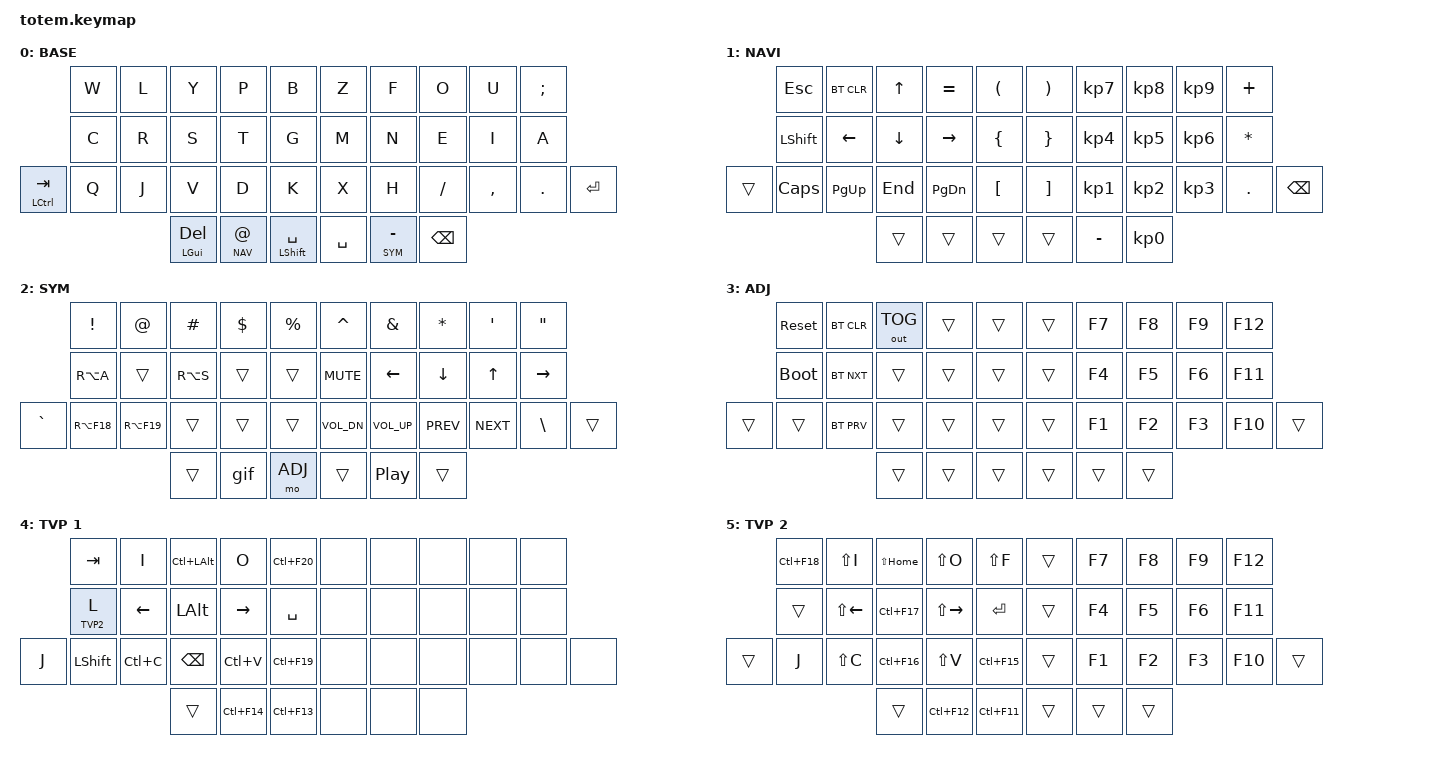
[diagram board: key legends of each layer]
//
//                                                        ▀▀▀▀▀     ▀▀▀▀▀          ▀▀█▀▀
//                                                        ▄▀▀▀▄  ▄  ▄▀▀▀▄  ▄  ▄▀▀▀▄  █  ▄▀▀▀▄
//                                                        █   █  █  █   █  █  █   █  █  █   █
//                                                         ▀▀▀   █   ▀▀▀   █   ▀▀▀   ▀   ▀▀▀
//                                                               █      ▄▄▄█▄▄▄    █   █  
//                                                               ▀      █  █  █     █▄█
//                                                             ▀▀▀▀▀    █  █  █      ▀
//                                                                      ▀  ▀  ▀
//
// ▄▄▄▄▄▄▄▄▄▄▄▄▄▄▄▄▄▄▄▄▄▄▄▄▄▄▄▄▄▄▄▄▄▄▄▄▄▄▄▄▄▄▄▄▄▄▄▄▄▄▄▄▄▄▄▄▄▄▄▄▄▄▄▄▄▄▄▄▄▄▄▄▄▄▄▄▄▄▄▄▄▄▄▄▄▄▄▄▄▄▄▄▄▄▄▄▄▄▄▄▄▄▄▄▄▄▄▄▄▄▄▄▄▄▄▄▄▄▄▄▄▄▄▄▄▄▄▄▄▄▄▄▄▄▄▄▄▄▄▄▄▄▄▄▄▄▄▄▄

#include <behaviors.dtsi>
#include <dt-bindings/zmk/bt.h>
#include <dt-bindings/zmk/keys.h>
#include <dt-bindings/zmk/outputs.h>

#define BASE 0
#define NAV  1
#define SYM  2
#define ADJ  3
#define TVP1 4
#define TVP2 5

&mt {
    quick-tap-ms = <100>;
    global-quick-tap;
    flavor = "tap-preferred";
    tapping-term-ms = <170>;
};

/ {
    combos {
        compatible = "zmk,combos";

        combo_esc {
            timeout-ms = <50>;
            key-positions = <0 1>;
            bindings = <&kp ESC>;
        };

        combo_tvp {
            timeout-ms = <100>;
            key-positions = <11 12 13>;
            bindings = <&tog TVP1>;
        };
    };

    macros {
        gif: gif {
            label = "giphy";
            compatible = "zmk,behavior-macro";
            #binding-cells = <0>;
            bindings =
                <&macro_press>,
                <&kp LSHFT>,
                <&macro_tap>,
                <&kp N2>,
                <&macro_release>,
                <&kp LSHFT>,
                <&macro_tap>,
                <&kp G &kp I &kp F>;
        };
    };

    keymap {
        compatible = "zmk,keymap";

        // ▄▄▄▄▄▄▄▄▄▄▄▄▄▄▄▄▄▄▄▄▄▄▄▄▄▄▄▄▄▄▄▄▄▄▄▄▄▄▄▄▄▄▄▄▄▄▄▄▄▄▄▄▄▄▄▄▄▄▄▄▄▄▄▄▄▄▄▄▄▄▄▄▄▄▄▄▄▄▄▄▄▄▄▄▄▄▄▄▄▄▄▄▄▄▄▄▄▄▄▄▄▄▄▄▄▄▄▄▄▄▄▄▄▄▄▄▄▄▄▄▄▄▄▄▄▄▄▄▄▄▄▄▄▄▄▄▄▄▄▄▄▄▄▄▄▄▄▄▄

        base_layer {
            // ┏━━━━━━━━━━━━━━━━━━━━━━━━━━━━━━━━━━━━━━━┓

            label = "BASE";

            // ┗━━━━━━━━━━━━━━━━━━━━━━━━━━━━━━━━━━━━━━━┛
            //             ┏━━━━━━━━━━━┳━━━━━━━━━━━┳━━━━━━━━━━━┳━━━━━━━━━━━┳━━━━━━━━━━━┓   ┏━━━━━━━━━━━┳━━━━━━━━━━━┳━━━━━━━━━━━┳━━━━━━━━━━━┳━━━━━━━━━━━┓
            //             ┃     Q     ┃     W     ┃     F     ┃     P     ┃     G     ┃   ┃     J     ┃     L     ┃     U     ┃     Y     ┃     ;     ┃
            //             ┣━━━━━━━━━━━╋━━━━━━━━━━━╋━━━━━━━━━━━╋━━━━━━━━━━━╋━━━━━━━━━━━┫   ┣━━━━━━━━━━━╋━━━━━━━━━━━╋━━━━━━━━━━━╋━━━━━━━━━━━╋━━━━━━━━━━━┫
            //             ┃     A     ┃     R     ┃     S     ┃     T     ┃     D     ┃   ┃     H     ┃     N     ┃     E     ┃     I     ┃     O     ┃
            // ┏━━━━━━━━━━━╋━━━━━━━━━━━╋━━━━━━━━━━━╋━━━━━━━━━━━╋━━━━━━━━━━━╋━━━━━━━━━━━┫   ┣━━━━━━━━━━━╋━━━━━━━━━━━╋━━━━━━━━━━━╋━━━━━━━━━━━╋━━━━━━━━━━━╋━━━━━━━━━━━┓
            // ┃     Q     ┃     Z     ┃     X     ┃     C     ┃     V     ┃     B     ┃   ┃     K     ┃     M     ┃     ,     ┃     .     ┃     /     ┃     \     ┃
            // ┗━━━━━━━━━━━┻━━━━━━━━━━━┻━━━━━━━━━━━╋━━━━━━━━━━━╋━━━━━━━━━━━╋━━━━━━━━━━━┫   ┣━━━━━━━━━━━╋━━━━━━━━━━━╋━━━━━━━━━━━╋━━━━━━━━━━━┻━━━━━━━━━━━┻━━━━━━━━━━━┛
            //                                     ┃    DEL    ┃    TAB    ┃    SPC    ┃   ┃   ENTER   ┃           ┃   BSPC    ┃
            //                                     ┗━━━━━━━━━━━┻━━━━━━━━━━━┻━━━━━━━━━━━┛   ┗━━━━━━━━━━━┻━━━━━━━━━━━┻━━━━━━━━━━━┛

            bindings = <
                      &kp W  &kp L  &kp Y                &kp P            &kp B                   &kp Z      &kp F          &kp O      &kp U      &kp SEMI
                      &kp C  &kp R  &kp S                &kp T            &kp G                   &kp M      &kp N          &kp E      &kp I      &kp A
&mt LEFT_CONTROL TAB  &kp Q  &kp J  &kp V                &kp D            &kp K                   &kp X      &kp H          &kp SLASH  &kp COMMA  &kp PERIOD  &kp RET
                                    &mt LEFT_GUI DELETE  &lt NAV AT_SIGN  &mt LEFT_SHIFT SPACE    &kp SPACE  &lt SYM MINUS  &kp BSPC
            >;
        };

        // ▄▄▄▄▄▄▄▄▄▄▄▄▄▄▄▄▄▄▄▄▄▄▄▄▄▄▄▄▄▄▄▄▄▄▄▄▄▄▄▄▄▄▄▄▄▄▄▄▄▄▄▄▄▄▄▄▄▄▄▄▄▄▄▄▄▄▄▄▄▄▄▄▄▄▄▄▄▄▄▄▄▄▄▄▄▄▄▄▄▄▄▄▄▄▄▄▄▄▄▄▄▄▄▄▄▄▄▄▄▄▄▄▄▄▄▄▄▄▄▄▄▄▄▄▄▄▄▄▄▄▄▄▄▄▄▄▄▄▄▄▄▄▄▄▄▄▄▄▄

        nav_layer {
            // ┏━━━━━━━━━━━━━━━━━━━━━━━━━━━━━━━━━━━━━━━┓

            label = "NAVI";

            // ┗━━━━━━━━━━━━━━━━━━━━━━━━━━━━━━━━━━━━━━━┛
            //             ┏━━━━━━━━━━━┳━━━━━━━━━━━┳━━━━━━━━━━━┳━━━━━━━━━━━┳━━━━━━━━━━━┓   ┏━━━━━━━━━━━┳━━━━━━━━━━━┳━━━━━━━━━━━┳━━━━━━━━━━━┳━━━━━━━━━━━┓
            //             ┃           ┃           ┃     UP    ┃           ┃     {     ┃   ┃     }     ┃     7     ┃     8     ┃     9     ┃     +     ┃
            //             ┣━━━━━━━━━━━╋━━━━━━━━━━━╋━━━━━━━━━━━╋━━━━━━━━━━━╋━━━━━━━━━━━┫   ┣━━━━━━━━━━━╋━━━━━━━━━━━╋━━━━━━━━━━━╋━━━━━━━━━━━╋━━━━━━━━━━━┫
            //             ┃   SHIFT   ┃   LEFT    ┃    DOWN   ┃   RIGHT   ┃     [     ┃   ┃     ]     ┃     4     ┃     5     ┃     6     ┃     -     ┃
            // ┏━━━━━━━━━━━╋━━━━━━━━━━━╋━━━━━━━━━━━╋━━━━━━━━━━━╋━━━━━━━━━━━╋━━━━━━━━━━━┫   ┣━━━━━━━━━━━╋━━━━━━━━━━━╋━━━━━━━━━━━╋━━━━━━━━━━━╋━━━━━━━━━━━╋━━━━━━━━━━━┓
            // ┃           ┃           ┃   P UP    ┃  C LOCK   ┃  P DOWN   ┃     (     ┃   ┃     )     ┃     1     ┃     2     ┃     3     ┃     *     ┃           ┃
            // ┗━━━━━━━━━━━┻━━━━━━━━━━━┻━━━━━━━━━━━╋━━━━━━━━━━━╋━━━━━━━━━━━╋━━━━━━━━━━━┫   ┣━━━━━━━━━━━╋━━━━━━━━━━━╋━━━━━━━━━━━╋━━━━━━━━━━━┻━━━━━━━━━━━┻━━━━━━━━━━━┛
            //                                     ┃           ┃    TAB    ┃    SPC    ┃   ┃    DEL    ┃     0     ┃           ┃
            //                                     ┗━━━━━━━━━━━┻━━━━━━━━━━━┻━━━━━━━━━━━┛   ┗━━━━━━━━━━━┻━━━━━━━━━━━┻━━━━━━━━━━━┛

            bindings = <
        &kp ESC       &bt BT_CLR  &kp UP    &kp EQUAL  &kp LEFT_PARENTHESIS    &kp RIGHT_PARENTHESIS  &kp KP_N7  &kp KP_N8  &kp KP_N9  &kp PLUS
        &kp LSHFT     &kp LEFT    &kp DOWN  &kp RIGHT  &kp LEFT_BRACE          &kp RIGHT_BRACE        &kp KP_N4  &kp KP_N5  &kp KP_N6  &kp ASTRK
&trans  &kp CAPSLOCK  &kp PG_UP   &kp END   &kp PG_DN  &kp LEFT_BRACKET        &kp RIGHT_BRACKET      &kp KP_N1  &kp KP_N2  &kp KP_N3  &kp PERIOD  &kp BACKSPACE
                                  &trans    &trans     &trans                  &trans                 &kp MINUS  &kp KP_N0
            >;
        };

        // ▄▄▄▄▄▄▄▄▄▄▄▄▄▄▄▄▄▄▄▄▄▄▄▄▄▄▄▄▄▄▄▄▄▄▄▄▄▄▄▄▄▄▄▄▄▄▄▄▄▄▄▄▄▄▄▄▄▄▄▄▄▄▄▄▄▄▄▄▄▄▄▄▄▄▄▄▄▄▄▄▄▄▄▄▄▄▄▄▄▄▄▄▄▄▄▄▄▄▄▄▄▄▄▄▄▄▄▄▄▄▄▄▄▄▄▄▄▄▄▄▄▄▄▄▄▄▄▄▄▄▄▄▄▄▄▄▄▄▄▄▄▄▄▄▄▄▄▄▄

        sim_layer {
            // ┏━━━━━━━━━━━━━━━━━━━━━━━━━━━━━━━━━━━━━━━┓

            label = "SYM";

            // ┗━━━━━━━━━━━━━━━━━━━━━━━━━━━━━━━━━━━━━━━┛
            //             ┏━━━━━━━━━━━┳━━━━━━━━━━━┳━━━━━━━━━━━┳━━━━━━━━━━━┳━━━━━━━━━━━┓   ┏━━━━━━━━━━━┳━━━━━━━━━━━┳━━━━━━━━━━━┳━━━━━━━━━━━┳━━━━━━━━━━━┓
            //             ┃     !     ┃     @     ┃     #     ┃     $     ┃     %     ┃   ┃     ˆ     ┃     &     ┃     Ü     ┃     '     ┃     "     ┃
            //             ┣━━━━━━━━━━━╋━━━━━━━━━━━╋━━━━━━━━━━━╋━━━━━━━━━━━╋━━━━━━━━━━━┫   ┣━━━━━━━━━━━╋━━━━━━━━━━━╋━━━━━━━━━━━╋━━━━━━━━━━━╋━━━━━━━━━━━┫
            //             ┃     Ä     ┃           ┃    SZ     ┃           ┃           ┃   ┃   MUTE    ┃   YEN     ┃   EURO    ┃  POUND    ┃     Ö     ┃
            // ┏━━━━━━━━━━━╋━━━━━━━━━━━╋━━━━━━━━━━━╋━━━━━━━━━━━╋━━━━━━━━━━━╋━━━━━━━━━━━┫   ┣━━━━━━━━━━━╋━━━━━━━━━━━╋━━━━━━━━━━━╋━━━━━━━━━━━╋━━━━━━━━━━━╋━━━━━━━━━━━┓
            // ┃           ┃  EMAIL1   ┃  EMAIL2   ┃           ┃           ┃           ┃   ┃   VOL-    ┃   VOL+    ┃   LAST    ┃   NEXT    ┃     \     ┃           ┃
            // ┗━━━━━━━━━━━┻━━━━━━━━━━━┻━━━━━━━━━━━╋━━━━━━━━━━━╋━━━━━━━━━━━╋━━━━━━━━━━━┫   ┣━━━━━━━━━━━╋━━━━━━━━━━━╋━━━━━━━━━━━╋━━━━━━━━━━━┻━━━━━━━━━━━┻━━━━━━━━━━━┛
            //                                     ┃           ┃    GIF    ┃    ADJ    ┃   ┃           ┃           ┃           ┃
            //                                     ┗━━━━━━━━━━━┻━━━━━━━━━━━┻━━━━━━━━━━━┛   ┗━━━━━━━━━━━┻━━━━━━━━━━━┻━━━━━━━━━━━┛

            bindings = <
           &kp EXCL     &kp AT       &kp HASH   &kp DLLR  &kp PRCNT    &kp CARET     &kp AMPS      &kp ASTERISK    &kp SQT       &kp DQT
           &kp RA(A)    &trans       &kp RA(S)  &trans    &trans       &kp C_MUTE    &kp LEFT      &kp DOWN_ARROW  &kp UP_ARROW  &kp RIGHT_ARROW
&kp GRAVE  &kp RA(F18)  &kp RA(F19)  &trans     &trans    &trans       &kp C_VOL_DN  &kp C_VOL_UP  &kp C_PREV      &kp C_NEXT    &kp BSLH         &trans
                                     &trans     &gif      &mo ADJ      &trans        &kp C_PP      &trans
            >;
        };

        // ▄▄▄▄▄▄▄▄▄▄▄▄▄▄▄▄▄▄▄▄▄▄▄▄▄▄▄▄▄▄▄▄▄▄▄▄▄▄▄▄▄▄▄▄▄▄▄▄▄▄▄▄▄▄▄▄▄▄▄▄▄▄▄▄▄▄▄▄▄▄▄▄▄▄▄▄▄▄▄▄▄▄▄▄▄▄▄▄▄▄▄▄▄▄▄▄▄▄▄▄▄▄▄▄▄▄▄▄▄▄▄▄▄▄▄▄▄▄▄▄▄▄▄▄▄▄▄▄▄▄▄▄▄▄▄▄▄▄▄▄▄▄▄▄▄▄▄▄▄

        adjust_layer {
            // ┏━━━━━━━━━━━━━━━━━━━━━━━━━━━━━━━━━━━━━━━┓

            label = "ADJ";

            // ┗━━━━━━━━━━━━━━━━━━━━━━━━━━━━━━━━━━━━━━━┛
            //             ┏━━━━━━━━━━━┳━━━━━━━━━━━┳━━━━━━━━━━━┳━━━━━━━━━━━┳━━━━━━━━━━━┓   ┏━━━━━━━━━━━┳━━━━━━━━━━━┳━━━━━━━━━━━┳━━━━━━━━━━━┳━━━━━━━━━━━┓
            //             ┃   RESET   ┃ BT CLEAR  ┃  OUT TOG  ┃           ┃           ┃   ┃           ┃    F7     ┃    F8     ┃    F9     ┃    F12    ┃
            //             ┣━━━━━━━━━━━╋━━━━━━━━━━━╋━━━━━━━━━━━╋━━━━━━━━━━━╋━━━━━━━━━━━┫   ┣━━━━━━━━━━━╋━━━━━━━━━━━╋━━━━━━━━━━━╋━━━━━━━━━━━╋━━━━━━━━━━━┫
            //             ┃ BOOTLOAD  ┃ BT NEXT   ┃           ┃           ┃           ┃   ┃           ┃    F4     ┃    F5     ┃    F6     ┃    F11    ┃
            // ┏━━━━━━━━━━━╋━━━━━━━━━━━╋━━━━━━━━━━━╋━━━━━━━━━━━╋━━━━━━━━━━━╋━━━━━━━━━━━┫   ┣━━━━━━━━━━━╋━━━━━━━━━━━╋━━━━━━━━━━━╋━━━━━━━━━━━╋━━━━━━━━━━━╋━━━━━━━━━━━┓
            // ┃           ┃           ┃ BT PREV   ┃           ┃           ┃           ┃   ┃           ┃    F1     ┃    F2     ┃    F3     ┃    F10    ┃           ┃
            // ┗━━━━━━━━━━━┻━━━━━━━━━━━┻━━━━━━━━━━━╋━━━━━━━━━━━╋━━━━━━━━━━━╋━━━━━━━━━━━┫   ┣━━━━━━━━━━━╋━━━━━━━━━━━╋━━━━━━━━━━━╋━━━━━━━━━━━┻━━━━━━━━━━━┻━━━━━━━━━━━┛
            //                                     ┃           ┃           ┃           ┃   ┃           ┃           ┃           ┃
            //                                     ┗━━━━━━━━━━━┻━━━━━━━━━━━┻━━━━━━━━━━━┛   ┗━━━━━━━━━━━┻━━━━━━━━━━━┻━━━━━━━━━━━┛

            bindings = <
        &sys_reset   &bt BT_CLR  &out OUT_TOG  &trans  &trans    &trans  &kp F7  &kp F8  &kp F9  &kp F12
        &bootloader  &bt BT_NXT  &trans        &trans  &trans    &trans  &kp F4  &kp F5  &kp F6  &kp F11
&trans  &trans       &bt BT_PRV  &trans        &trans  &trans    &trans  &kp F1  &kp F2  &kp F3  &kp F10  &trans
                                 &trans        &trans  &trans    &trans  &trans  &trans
            >;
        };

        // ▄▄▄▄▄▄▄▄▄▄▄▄▄▄▄▄▄▄▄▄▄▄▄▄▄▄▄▄▄▄▄▄▄▄▄▄▄▄▄▄▄▄▄▄▄▄▄▄▄▄▄▄▄▄▄▄▄▄▄▄▄▄▄▄▄▄▄▄▄▄▄▄▄▄▄▄▄▄▄▄▄▄▄▄▄▄▄▄▄▄▄▄▄▄▄▄▄▄▄▄▄▄▄▄▄▄▄▄▄▄▄▄▄▄▄▄▄▄▄▄▄▄▄▄▄▄▄▄▄▄▄▄▄▄▄▄▄▄▄▄▄▄▄▄▄▄▄▄▄

        tvp1_layer {
            // ┏━━━━━━━━━━━━━━━━━━━━━━━━━━━━━━━━━━━━━━━┓

            label = "TVP 1";

            // ┗━━━━━━━━━━━━━━━━━━━━━━━━━━━━━━━━━━━━━━━┛
            //             ┏━━━━━━━━━━━┳━━━━━━━━━━━┳━━━━━━━━━━━┳━━━━━━━━━━━┳━━━━━━━━━━━┓   ┏━━━━━━━━━━━┳━━━━━━━━━━━┳━━━━━━━━━━━┳━━━━━━━━━━━┳━━━━━━━━━━━┓
            //             ┃ NEXT FILE ┃ MARK IN   ┃ ROTATE    ┃ MARK OUT  ┃ SHOW SNAP ┃   ┃           ┃           ┃           ┃           ┃           ┃
            //             ┣━━━━━━━━━━━╋━━━━━━━━━━━╋━━━━━━━━━━━╋━━━━━━━━━━━╋━━━━━━━━━━━┫   ┣━━━━━━━━━━━╋━━━━━━━━━━━╋━━━━━━━━━━━╋━━━━━━━━━━━╋━━━━━━━━━━━┫
            //             ┃ TVP II    ┃ LEFT      ┃ PAN       ┃ RIGHT     ┃ PLAY/FLIP ┃   ┃           ┃           ┃           ┃           ┃           ┃
            // ┏━━━━━━━━━━━╋━━━━━━━━━━━╋━━━━━━━━━━━╋━━━━━━━━━━━╋━━━━━━━━━━━╋━━━━━━━━━━━┫   ┣━━━━━━━━━━━╋━━━━━━━━━━━╋━━━━━━━━━━━╋━━━━━━━━━━━╋━━━━━━━━━━━╋━━━━━━━━━━━┓
            // ┃ FULLSCR   ┃ SHIFT     ┃ COPY      ┃ DELETE    ┃ PASTE     ┃ IMG MARK  ┃   ┃           ┃           ┃           ┃           ┃           ┃           ┃
            // ┗━━━━━━━━━━━┻━━━━━━━━━━━┻━━━━━━━━━━━╋━━━━━━━━━━━╋━━━━━━━━━━━╋━━━━━━━━━━━┫   ┣━━━━━━━━━━━╋━━━━━━━━━━━╋━━━━━━━━━━━╋━━━━━━━━━━━┻━━━━━━━━━━━┻━━━━━━━━━━━┛
            //                                     ┃           ┃ UNDO/SAVE ┃  SEL/MOV  ┃   ┃           ┃           ┃           ┃
            //                                     ┗━━━━━━━━━━━┻━━━━━━━━━━━┻━━━━━━━━━━━┛   ┗━━━━━━━━━━━┻━━━━━━━━━━━┻━━━━━━━━━━━┛

            bindings = <
       &kp TAB     &kp I      &kp LC(LALT)  &kp O        &kp LC(F20)    &none  &none  &none  &none  &none
       &lt TVP2 L  &kp LEFT   &kp LALT      &kp RIGHT    &kp SPACE      &none  &none  &none  &none  &none
&kp J  &kp LSHFT   &kp LC(C)  &kp BSPC      &kp LC(V)    &kp LC(F19)    &none  &none  &none  &none  &none  &none
                              &trans        &kp LC(F14)  &kp LC(F13)    &none  &none  &none
            >;
        };

        // ▄▄▄▄▄▄▄▄▄▄▄▄▄▄▄▄▄▄▄▄▄▄▄▄▄▄▄▄▄▄▄▄▄▄▄▄▄▄▄▄▄▄▄▄▄▄▄▄▄▄▄▄▄▄▄▄▄▄▄▄▄▄▄▄▄▄▄▄▄▄▄▄▄▄▄▄▄▄▄▄▄▄▄▄▄▄▄▄▄▄▄▄▄▄▄▄▄▄▄▄▄▄▄▄▄▄▄▄▄▄▄▄▄▄▄▄▄▄▄▄▄▄▄▄▄▄▄▄▄▄▄▄▄▄▄▄▄▄▄▄▄▄▄▄▄▄▄▄▄

        tvp2_layer {
            // ┏━━━━━━━━━━━━━━━━━━━━━━━━━━━━━━━━━━━━━━━┓

            label = "TVP 2";

            // ┗━━━━━━━━━━━━━━━━━━━━━━━━━━━━━━━━━━━━━━━┛
            //             ┏━━━━━━━━━━━┳━━━━━━━━━━━┳━━━━━━━━━━━┳━━━━━━━━━━━┳━━━━━━━━━━━┓   ┏━━━━━━━━━━━┳━━━━━━━━━━━┳━━━━━━━━━━━┳━━━━━━━━━━━┳━━━━━━━━━━━┓
            //             ┃ SOLO      ┃ TOGGLE IN ┃ RESET ROT ┃ TOGGLE OUT┃ TAKE SNAP ┃   ┃           ┃           ┃           ┃           ┃           ┃
            //             ┣━━━━━━━━━━━╋━━━━━━━━━━━╋━━━━━━━━━━━╋━━━━━━━━━━━╋━━━━━━━━━━━┫   ┣━━━━━━━━━━━╋━━━━━━━━━━━╋━━━━━━━━━━━╋━━━━━━━━━━━╋━━━━━━━━━━━┫
            //             ┃ ---       ┃ LAST KEY  ┃ NEW KEY   ┃ NEXT KEY  ┃ ENTER     ┃   ┃           ┃           ┃           ┃           ┃           ┃
            // ┏━━━━━━━━━━━╋━━━━━━━━━━━╋━━━━━━━━━━━╋━━━━━━━━━━━╋━━━━━━━━━━━╋━━━━━━━━━━━┫   ┣━━━━━━━━━━━╋━━━━━━━━━━━╋━━━━━━━━━━━╋━━━━━━━━━━━╋━━━━━━━━━━━╋━━━━━━━━━━━┓
            // ┃           ┃ FULLSCR   ┃ CPY2BRUSH ┃ DEL HEAD  ┃ PSTinPLACE┃ BOOK MARK ┃   ┃           ┃           ┃           ┃           ┃           ┃           ┃
            // ┗━━━━━━━━━━━┻━━━━━━━━━━━┻━━━━━━━━━━━╋━━━━━━━━━━━╋━━━━━━━━━━━╋━━━━━━━━━━━┫   ┣━━━━━━━━━━━╋━━━━━━━━━━━╋━━━━━━━━━━━╋━━━━━━━━━━━┻━━━━━━━━━━━┻━━━━━━━━━━━┛
            //                                     ┃           ┃ REDO/SAV1 ┃TRANS/WARP ┃   ┃           ┃           ┃           ┃
            //                                     ┗━━━━━━━━━━━┻━━━━━━━━━━━┻━━━━━━━━━━━┛   ┗━━━━━━━━━━━┻━━━━━━━━━━━┻━━━━━━━━━━━┛

            bindings = <
        &kp LC(F18)  &kp LS(I)     &kp LS(HOME)  &kp LS(O)      &kp LS(F)      &trans  &kp F7  &kp F8  &kp F9  &kp F12
        &trans       &kp LS(LEFT)  &kp LC(F17)   &kp LS(RIGHT)  &kp RET        &trans  &kp F4  &kp F5  &kp F6  &kp F11
&trans  &kp J        &kp LS(C)     &kp LC(F16)   &kp LS(V)      &kp LC(F15)    &trans  &kp F1  &kp F2  &kp F3  &kp F10  &trans
                                   &trans        &kp LC(F12)    &kp LC(F11)    &trans  &trans  &trans
            >;
        };
    };
};
